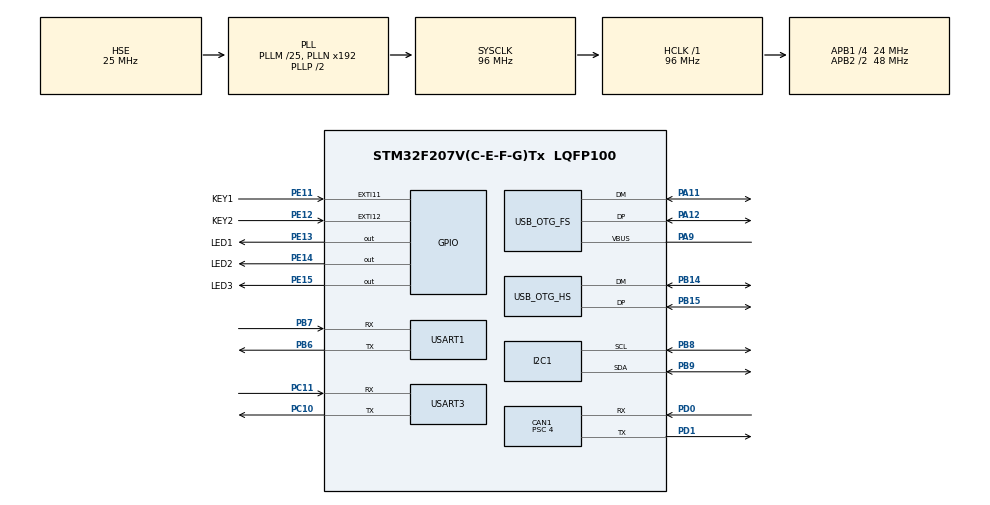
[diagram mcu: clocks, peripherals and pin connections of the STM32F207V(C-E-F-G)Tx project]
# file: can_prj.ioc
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CAN1.BS1=CAN_BS1_6TQ
CAN1.BS2=CAN_BS2_2TQ
CAN1.CalculateBaudRate=666666
CAN1.CalculateTimeBit=1500
CAN1.CalculateTimeQuantum=166.66666666666666
CAN1.Mode=CAN_MODE_NORMAL
CAN1.Prescaler=4
Mcu.Family=STM32F2
Mcu.Name=STM32F207V(C-E-F-G)Tx
Mcu.Package=LQFP100
NVIC.CAN1_RX0_IRQn=true\:0\:0\:false\:false\:true\:true\:true\:true
NVIC.EXTI15_10_IRQn=true\:0\:0\:false\:false\:true\:true\:true\:true
NVIC.OTG_FS_IRQn=true\:0\:0\:false\:false\:true\:false\:true\:true
NVIC.PriorityGroup=NVIC_PRIORITYGROUP_4
PA0-WKUP.Signal=ETH_CRS
PA1.Signal=ETH_RX_CLK
PA11.Mode=Device_Only
PA11.Signal=USB_OTG_FS_DM
PA12.Mode=Device_Only
PA12.Signal=USB_OTG_FS_DP
PA3.Signal=ETH_COL
PA7.Signal=ETH_RX_DV
PA9.Mode=Activate_VBUS
PA9.Signal=USB_OTG_FS_VBUS
PB0.Signal=ETH_RXD2
PB1.Signal=ETH_RXD3
PB10.Signal=ETH_RX_ER
PB11.Signal=ETH_TX_EN
PB12.Signal=ETH_TXD0
PB13.Signal=ETH_TXD1
PB14.Mode=Host_FS
PB14.Signal=USB_OTG_HS_DM
PB15.Mode=Host_FS
PB15.Signal=USB_OTG_HS_DP
PB6.Mode=Asynchronous
PB6.Signal=USART1_TX
PB7.Mode=Asynchronous
PB7.Signal=USART1_RX
PB8.Mode=I2C
PB8.Signal=I2C1_SCL
PB9.Mode=I2C
PB9.Signal=I2C1_SDA
PC1.Signal=ETH_MDC
PC10.Mode=Asynchronous
PC10.Signal=USART3_TX
PC11.Mode=Asynchronous
PC11.Signal=USART3_RX
PC2.Signal=ETH_TXD2
PC3.Signal=ETH_TX_CLK
PC4.Signal=ETH_RXD0
PC5.Signal=ETH_RXD1
PD0.GPIO_PuPd=GPIO_PULLUP
PD0.Mode=CAN_Activate
PD0.Signal=CAN1_RX
PD1.Mode=CAN_Activate
PD1.Signal=CAN1_TX
PE11.GPIO_Label=KEY1
PE11.GPIO_ModeDefaultEXTI=GPIO_MODE_IT_FALLING
PE11.Signal=GPXTI11
PE12.GPIO_Label=KEY2
PE12.GPIO_ModeDefaultEXTI=GPIO_MODE_IT_FALLING
PE12.Signal=GPXTI12
PE13.GPIO_Label=LED1
PE13.PinState=GPIO_PIN_SET
PE13.Signal=GPIO_Output
PE14.GPIO_Label=LED2
PE14.PinState=GPIO_PIN_SET
PE14.Signal=GPIO_Output
PE15.GPIO_Label=LED3
PE15.PinState=GPIO_PIN_SET
PE15.Signal=GPIO_Output
PE2.Signal=ETH_TXD3
PH0-OSC_IN.Mode=HSE-External-Oscillator
PH0-OSC_IN.Signal=RCC_OSC_IN
PH1-OSC_OUT.Mode=HSE-External-Oscillator
PH1-OSC_OUT.Signal=RCC_OSC_OUT
ProjectManager.HeapSize=0x200
ProjectManager.StackSize=0x400
ProjectManager.TargetToolchain=STM32CubeIDE
RCC.48MHZClocksFreq_Value=48000000
RCC.AHBFreq_Value=96000000
RCC.APB1CLKDivider=RCC_HCLK_DIV4
RCC.APB1Freq_Value=24000000
RCC.APB1TimFreq_Value=48000000
RCC.APB2CLKDivider=RCC_HCLK_DIV2
RCC.APB2Freq_Value=48000000
RCC.APB2TimFreq_Value=96000000
RCC.CortexFreq_Value=96000000
RCC.HCLKFreq_Value=96000000
RCC.HSE_VALUE=25000000
RCC.HSI_VALUE=16000000
RCC.LSE_VALUE=32768
RCC.PLLM=25
RCC.PLLSourceVirtual=RCC_PLLSOURCE_HSE
RCC.SYSCLKFreq_VALUE=96000000
RCC.SYSCLKSource=RCC_SYSCLKSOURCE_PLLCLK
RCC.VCOOutputFreq_Value=192000000
USART1.VirtualMode=VM_ASYNC
USART3.VirtualMode=VM_ASYNC
USB_DEVICE.CLASS_NAME_FS=CDC
USB_DEVICE.VirtualMode-CDC_FS=Cdc
USB_DEVICE.VirtualModeFS=Cdc_FS
USB_OTG_FS.VirtualMode=Device_Only
USB_OTG_HS.VirtualMode-Host_FS=Host_FS
VP_USB_DEVICE_VS_USB_DEVICE_CDC_FS.Mode=CDC_FS
board=custom

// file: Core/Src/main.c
/* USER CODE BEGIN Header */
/**
  ******************************************************************************
  * @file           : main.c
  * @brief          : Main program body
  ******************************************************************************
  * @attention
  *
  * Copyright (c) 2025 STMicroelectronics.
  * All rights reserved.
  *
  * This software is licensed under terms that can be found in the LICENSE file
  * in the root directory of this software component.
  * If no LICENSE file comes with this software, it is provided AS-IS.
  *
  ******************************************************************************
  */
/* USER CODE END Header */
#include "main.h"
#include "usb_device.h"

CAN_HandleTypeDef hcan1;

I2C_HandleTypeDef hi2c1;

UART_HandleTypeDef huart1;
UART_HandleTypeDef huart3;

void SystemClock_Config(void);
static void MX_GPIO_Init(void);
static void MX_USART1_UART_Init(void);
static void MX_USART3_UART_Init(void);
static void MX_I2C1_Init(void);
static void MX_CAN1_Init(void);

/* USER CODE BEGIN 0 */
CAN_TxHeaderTypeDef TxHeader;
CAN_RxHeaderTypeDef RxHeader;

uint8_t TxData[8];
uint8_t RxData[8];

uint32_t TxMailbox;

int datacheck = 0;

#define hUART           huart3
int _write( int32_t file , uint8_t *ptr , int32_t len )
{
    /* Implement your write code here, this is used by puts and printf for example */
    for ( int16_t i = 0 ; i < len ; ++i )
    {
        HAL_UART_Transmit( &hUART, ptr++, 1, 100);
    }
    return len;
}

void HAL_GPIO_EXTI_Callback(uint16_t GPIO_Pin)
{
	if(GPIO_Pin == KEY1_Pin)
	{
		if(HAL_GPIO_ReadPin(KEY1_GPIO_Port, KEY1_Pin) == GPIO_PIN_RESET)
		{
			TxData[0] = 100;   // ms Delay
			TxData[1] = 40;    // loop rep
			TxData[2] = 0xaa;
			TxData[3] = 0xaa;
			TxData[4] = 0xaa;
			TxData[5] = 0xaa;
			TxData[6] = 0xaa;
			TxData[7] = 0xaa;

			if(HAL_CAN_AddTxMessage(&hcan1, &TxHeader, TxData, &TxMailbox) != HAL_OK)
			{
			  Error_Handler();
			}
			printf("TX:%02x %02x %02x %02x %02x %02x %02x %02x\r\n", TxData[0], TxData[1], TxData[2], TxData[3], TxData[4], TxData[5], TxData[6], TxData[7]);
		}
	}
	else if(GPIO_Pin == KEY2_Pin)
	{
		if(HAL_GPIO_ReadPin(KEY2_GPIO_Port, KEY2_Pin) == GPIO_PIN_RESET)
		{
			TxData[0] = 100;   // ms Delay
			TxData[1] = 40;    // loop rep
			TxData[2] = 0x55;
			TxData[3] = 0x55;
			TxData[4] = 0x55;
			TxData[5] = 0x55;
			TxData[6] = 0x55;
			TxData[7] = 0x55;

			if(HAL_CAN_AddTxMessage(&hcan1, &TxHeader, TxData, &TxMailbox) != HAL_OK)
			{
			  Error_Handler();
			}

			printf("TX:%02x %02x %02x %02x %02x %02x %02x %02x\r\n", TxData[0], TxData[1], TxData[2], TxData[3], TxData[4], TxData[5], TxData[6], TxData[7]);
		}
	}
}

void HAL_CAN_RxFifo0MsgPendingCallback(CAN_HandleTypeDef *hcan)
{
	if(HAL_CAN_GetRxMessage(hcan, CAN_RX_FIFO0, &RxHeader, RxData) != HAL_OK)
	{
	  Error_Handler();
	}

	if (RxHeader.DLC == 8)
	{
		datacheck = 1;
	}
}

/* USER CODE END 0 */

int main(void)
{

  /* MCU Configuration--------------------------------------------------------*/

  /* Reset of all peripherals, Initializes the Flash interface and the Systick. */
  HAL_Init();

  /* Configure the system clock */
  SystemClock_Config();

  /* Initialize all configured peripherals */
  MX_GPIO_Init();
  MX_USART1_UART_Init();
  MX_USART3_UART_Init();
  MX_USB_DEVICE_Init();
  MX_I2C1_Init();
  MX_CAN1_Init();
  /* USER CODE BEGIN 2 */
  printf("CAN test\r\n");

  if(HAL_CAN_Start(&hcan1) != HAL_OK)
  {
    Error_Handler();
  }

  // Activate the notification
  if(HAL_CAN_ActivateNotification(&hcan1, CAN_IT_RX_FIFO0_MSG_PENDING) != HAL_OK)
  {
    Error_Handler();
  }

  TxHeader.DLC = 8;  // data length
  TxHeader.IDE = CAN_ID_STD;
  TxHeader.RTR = CAN_RTR_DATA;
  TxHeader.StdId = 0x446;  // ID
  /* USER CODE END 2 */

  /* Infinite loop */
  while (1)
  {

    /* USER CODE BEGIN 3 */
	  if (datacheck)
	  {
		  printf("RX:%02x %02x %02x %02x %02x %02x %02x %02x\r\n", RxData[0], RxData[1], RxData[2], RxData[3], RxData[4], RxData[5], RxData[6], RxData[7]);

			// blink the LED
		  for (int i=0; i<RxData[1]; i++)
		  {
			  HAL_GPIO_TogglePin(GPIOE, LED1_Pin | LED2_Pin | LED3_Pin);
			  HAL_Delay(RxData[0]);
		  }

		  datacheck = 0;
	  }
  }
  /* USER CODE END 3 */
}

void SystemClock_Config(void)
{
  RCC_OscInitTypeDef RCC_OscInitStruct = {0};
  RCC_ClkInitTypeDef RCC_ClkInitStruct = {0};

  /** Initializes the RCC Oscillators according to the specified parameters
  * in the RCC_OscInitTypeDef structure.
  */
  RCC_OscInitStruct.OscillatorType = RCC_OSCILLATORTYPE_HSE;
  RCC_OscInitStruct.HSEState = RCC_HSE_ON;
  RCC_OscInitStruct.PLL.PLLState = RCC_PLL_ON;
  RCC_OscInitStruct.PLL.PLLSource = RCC_PLLSOURCE_HSE;
  RCC_OscInitStruct.PLL.PLLM = 25;
  RCC_OscInitStruct.PLL.PLLN = 192;
  RCC_OscInitStruct.PLL.PLLP = RCC_PLLP_DIV2;
  RCC_OscInitStruct.PLL.PLLQ = 4;
  if (HAL_RCC_OscConfig(&RCC_OscInitStruct) != HAL_OK)
  {
    Error_Handler();
  }

  /** Initializes the CPU, AHB and APB buses clocks
  */
  RCC_ClkInitStruct.ClockType = RCC_CLOCKTYPE_HCLK|RCC_CLOCKTYPE_SYSCLK
                              |RCC_CLOCKTYPE_PCLK1|RCC_CLOCKTYPE_PCLK2;
  RCC_ClkInitStruct.SYSCLKSource = RCC_SYSCLKSOURCE_PLLCLK;
  RCC_ClkInitStruct.AHBCLKDivider = RCC_SYSCLK_DIV1;
  RCC_ClkInitStruct.APB1CLKDivider = RCC_HCLK_DIV4;
  RCC_ClkInitStruct.APB2CLKDivider = RCC_HCLK_DIV2;

  if (HAL_RCC_ClockConfig(&RCC_ClkInitStruct, FLASH_LATENCY_3) != HAL_OK)
  {
    Error_Handler();
  }
}

static void MX_CAN1_Init(void)
{

  hcan1.Instance = CAN1;
  hcan1.Init.Prescaler = 4;
  hcan1.Init.Mode = CAN_MODE_NORMAL;
  hcan1.Init.SyncJumpWidth = CAN_SJW_1TQ;
  hcan1.Init.TimeSeg1 = CAN_BS1_6TQ;
  hcan1.Init.TimeSeg2 = CAN_BS2_2TQ;
  hcan1.Init.TimeTriggeredMode = DISABLE;
  hcan1.Init.AutoBusOff = DISABLE;
  hcan1.Init.AutoWakeUp = DISABLE;
  hcan1.Init.AutoRetransmission = DISABLE;
  hcan1.Init.ReceiveFifoLocked = DISABLE;
  hcan1.Init.TransmitFifoPriority = DISABLE;
  if (HAL_CAN_Init(&hcan1) != HAL_OK)
  {
    Error_Handler();
  }
  /* USER CODE BEGIN CAN1_Init 2 */
  CAN_FilterTypeDef canfilterconfig;

  canfilterconfig.FilterActivation = CAN_FILTER_ENABLE;
  canfilterconfig.FilterBank = 18;  // which filter bank to use from the assigned ones
  canfilterconfig.FilterFIFOAssignment = CAN_RX_FIFO0;
  canfilterconfig.FilterIdHigh = 0x446<<5;
  canfilterconfig.FilterIdLow = 0;
  canfilterconfig.FilterMaskIdHigh = 0x446<<5;
  canfilterconfig.FilterMaskIdLow = 0x0000;
  canfilterconfig.FilterMode = CAN_FILTERMODE_IDMASK;
  canfilterconfig.FilterScale = CAN_FILTERSCALE_32BIT;
  canfilterconfig.SlaveStartFilterBank = 20;  // how many filters to assign to the CAN1 (master can)

  if(HAL_CAN_ConfigFilter(&hcan1, &canfilterconfig) != HAL_OK)
  {
    Error_Handler();
  }
  /* USER CODE END CAN1_Init 2 */

}

static void MX_I2C1_Init(void)
{

  hi2c1.Instance = I2C1;
  hi2c1.Init.ClockSpeed = 100000;
  hi2c1.Init.DutyCycle = I2C_DUTYCYCLE_2;
  hi2c1.Init.OwnAddress1 = 0;
  hi2c1.Init.AddressingMode = I2C_ADDRESSINGMODE_7BIT;
  hi2c1.Init.DualAddressMode = I2C_DUALADDRESS_DISABLE;
  hi2c1.Init.OwnAddress2 = 0;
  hi2c1.Init.GeneralCallMode = I2C_GENERALCALL_DISABLE;
  hi2c1.Init.NoStretchMode = I2C_NOSTRETCH_DISABLE;
  if (HAL_I2C_Init(&hi2c1) != HAL_OK)
  {
    Error_Handler();
  }

}

static void MX_USART1_UART_Init(void)
{

  huart1.Instance = USART1;
  huart1.Init.BaudRate = 115200;
  huart1.Init.WordLength = UART_WORDLENGTH_8B;
  huart1.Init.StopBits = UART_STOPBITS_1;
  huart1.Init.Parity = UART_PARITY_NONE;
  huart1.Init.Mode = UART_MODE_TX_RX;
  huart1.Init.HwFlowCtl = UART_HWCONTROL_NONE;
  huart1.Init.OverSampling = UART_OVERSAMPLING_16;
  if (HAL_UART_Init(&huart1) != HAL_OK)
  {
    Error_Handler();
  }

}

static void MX_USART3_UART_Init(void)
{

  huart3.Instance = USART3;
  huart3.Init.BaudRate = 115200;
  huart3.Init.WordLength = UART_WORDLENGTH_8B;
  huart3.Init.StopBits = UART_STOPBITS_1;
  huart3.Init.Parity = UART_PARITY_NONE;
  huart3.Init.Mode = UART_MODE_TX_RX;
  huart3.Init.HwFlowCtl = UART_HWCONTROL_NONE;
  huart3.Init.OverSampling = UART_OVERSAMPLING_16;
  if (HAL_UART_Init(&huart3) != HAL_OK)
  {
    Error_Handler();
  }

}

static void MX_GPIO_Init(void)
{
  GPIO_InitTypeDef GPIO_InitStruct = {0};

  /* GPIO Ports Clock Enable */
  __HAL_RCC_GPIOE_CLK_ENABLE();
  __HAL_RCC_GPIOH_CLK_ENABLE();
  __HAL_RCC_GPIOC_CLK_ENABLE();
  __HAL_RCC_GPIOA_CLK_ENABLE();
  __HAL_RCC_GPIOB_CLK_ENABLE();
  __HAL_RCC_GPIOD_CLK_ENABLE();

  /*Configure GPIO pin Output Level */
  HAL_GPIO_WritePin(GPIOE, LED1_Pin|LED2_Pin|LED3_Pin, GPIO_PIN_SET);

  /*Configure GPIO pin : PE2 */
  GPIO_InitStruct.Pin = GPIO_PIN_2;
  GPIO_InitStruct.Mode = GPIO_MODE_AF_PP;
  GPIO_InitStruct.Pull = GPIO_NOPULL;
  GPIO_InitStruct.Speed = GPIO_SPEED_FREQ_VERY_HIGH;
  GPIO_InitStruct.Alternate = GPIO_AF11_ETH;
  HAL_GPIO_Init(GPIOE, &GPIO_InitStruct);

  /*Configure GPIO pins : PC1 PC2 PC3 PC4
                           PC5 */
  GPIO_InitStruct.Pin = GPIO_PIN_1|GPIO_PIN_2|GPIO_PIN_3|GPIO_PIN_4
                          |GPIO_PIN_5;
  GPIO_InitStruct.Mode = GPIO_MODE_AF_PP;
  GPIO_InitStruct.Pull = GPIO_NOPULL;
  GPIO_InitStruct.Speed = GPIO_SPEED_FREQ_VERY_HIGH;
  GPIO_InitStruct.Alternate = GPIO_AF11_ETH;
  HAL_GPIO_Init(GPIOC, &GPIO_InitStruct);

  /*Configure GPIO pins : PA0 PA1 PA3 PA7 */
  GPIO_InitStruct.Pin = GPIO_PIN_0|GPIO_PIN_1|GPIO_PIN_3|GPIO_PIN_7;
  GPIO_InitStruct.Mode = GPIO_MODE_AF_PP;
  GPIO_InitStruct.Pull = GPIO_NOPULL;
  GPIO_InitStruct.Speed = GPIO_SPEED_FREQ_VERY_HIGH;
  GPIO_InitStruct.Alternate = GPIO_AF11_ETH;
  HAL_GPIO_Init(GPIOA, &GPIO_InitStruct);

  /*Configure GPIO pins : PB0 PB1 PB10 PB11
                           PB12 PB13 */
  GPIO_InitStruct.Pin = GPIO_PIN_0|GPIO_PIN_1|GPIO_PIN_10|GPIO_PIN_11
                          |GPIO_PIN_12|GPIO_PIN_13;
  GPIO_InitStruct.Mode = GPIO_MODE_AF_PP;
  GPIO_InitStruct.Pull = GPIO_NOPULL;
  GPIO_InitStruct.Speed = GPIO_SPEED_FREQ_VERY_HIGH;
  GPIO_InitStruct.Alternate = GPIO_AF11_ETH;
  HAL_GPIO_Init(GPIOB, &GPIO_InitStruct);

  /*Configure GPIO pins : KEY1_Pin KEY2_Pin */
  GPIO_InitStruct.Pin = KEY1_Pin|KEY2_Pin;
  GPIO_InitStruct.Mode = GPIO_MODE_IT_FALLING;
  GPIO_InitStruct.Pull = GPIO_NOPULL;
  HAL_GPIO_Init(GPIOE, &GPIO_InitStruct);

  /*Configure GPIO pins : LED1_Pin LED2_Pin LED3_Pin */
  GPIO_InitStruct.Pin = LED1_Pin|LED2_Pin|LED3_Pin;
  GPIO_InitStruct.Mode = GPIO_MODE_OUTPUT_PP;
  GPIO_InitStruct.Pull = GPIO_NOPULL;
  GPIO_InitStruct.Speed = GPIO_SPEED_FREQ_LOW;
  HAL_GPIO_Init(GPIOE, &GPIO_InitStruct);

  /* EXTI interrupt init*/
  HAL_NVIC_SetPriority(EXTI15_10_IRQn, 0, 0);
  HAL_NVIC_EnableIRQ(EXTI15_10_IRQn);

}

void Error_Handler(void)
{
  __disable_irq();
  while (1)
  {
  }
}
